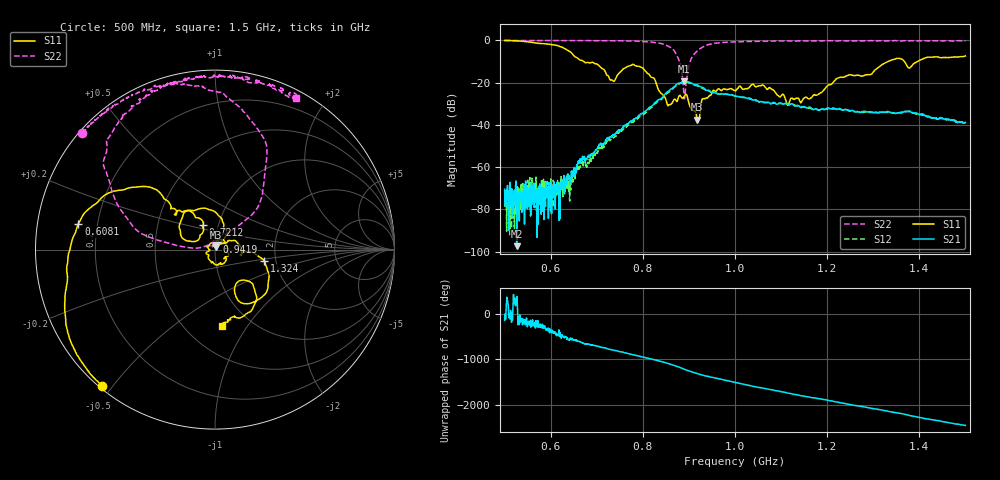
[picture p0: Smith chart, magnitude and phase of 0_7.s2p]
!Agilent Technologies,E8364B,US42250235,A.06.04.32
!Agilent E8364B: A.06.04.32
!Date: Friday, January 15, 2021 14:50:11
!Correction: S11(Full 2 Port(1,2)) S21(Full 2 Port(1,2)) S12(Full 2 Port(1,2)) S22(Full 2 Port(1,2))
!S2P File: Measurements: S11, S21, S12, S22:
# Hz S  dB  R 50
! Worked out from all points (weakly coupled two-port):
!   1601 points, 500 MHz to 1.5 GHz, reference 50 ohm
!   highest |S21| = -19.48 dB at 888.8 MHz (marker M1); lowest = -97.4 dB at 526.2 MHz (marker M2)
!   lowest |S11| = -37.5 dB at 918.1 MHz (marker M3), VSWR 1.03, Z = 50.3 + j1.3 ohm
!   |S11| at or under -10 dB: 671.3 MHz to 1.333 GHz (661.2 MHz wide, 66 % of centre); 1.368 GHz to 1.396 GHz (28.84 MHz wide, 2.09 % of centre)
!   |S22| runs from -27.8 to -0.1 dB; largest |S21 - S12| = 0.0055
!   S11 on the Smith chart (normalised r, x): 500 MHz: 0.01, -0.47; 608.1 MHz: 0.13, +0.09; 721.2 MHz: 0.85, +0.24; 941.9 MHz: 1.02, +0.09; 1.324 GHz: 1.74, -0.24; 1.5 GHz: 0.74, -0.77
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5e8  -0.13 -129.7  -70.43 -151.7  -78.74 -119.3  -0.13 138.6
5.2625e8  -0.29 -142.5  -97.38 -11.8  -75.05 -105.5  -0.14 135.8
6.08125e8  -2.22 169.4  -74.39 -55.6  -68.08 -45.9  -0.15 127.5
6.40625e8  -5.20 140.3  -64.81 156.6  -74.49 124.1  -0.18 124.8
6.66875e8  -9.48 137.2  -56.03 89.8  -57.72 99.5  -0.19 121.5
7.2125e8  -16.30 115.3  -46.79 -44.5  -48.34 -42.8  -0.26 115.0
7.35625e8  -19.30 141.6  -44.61 -82.0  -46.32 -81.9  -0.27 113.4
7.9125e8  -12.35 107.4  -35.62 148.5  -36.48 146.8  -0.51 102.4
8.3375e8  -23.49 51.3  -28.23 40.9  -28.82 40.5  -1.27 86.4
8.5625e8  -30.49 77.9  -24.06 -20.7  -24.62 -21.9  -2.96 70.3
8.70625e8  -27.97 85.0  -21.48 -66.7  -21.91 -67.5  -5.91 56.8
8.8875e8  -27.09 90.2  -19.48 -136.8  -19.90 -137.5  -24.68 74.1
9.18125e8  -37.53 75.6  -21.11 123.0  -21.60 122.0  -5.01 157.7
9.41875e8  -26.97 77.0  -23.67 60.5  -24.03 59.0  -2.08 142.3
1e9  -23.84 -10.3  -26.45 -71.1  -26.41 -72.5  -0.74 120.2
1.06e9  -21.14 -81.0  -29.15 163.7  -29.33 162.9  -0.46 111.8
1.114375e9  -30.69 -172.9  -30.34 55.2  -30.20 56.0  -0.36 103.8
1.166875e9  -26.91 47.4  -32.48 -46.0  -32.45 -45.0  -0.34 97.1
1.32375e9  -10.98 -13.2  -34.16 33.2  -34.03 31.2  -0.32 81.1
1.33375e9  -9.89 -22.6  -33.82 10.7  -34.07 12.7  -0.29 79.0
1.37875e9  -13.15 -52.2  -33.51 -75.4  -33.71 -75.2  -0.30 75.6
1.5e9  -7.42 -84.8  -38.89 65.0  -39.18 64.1  -0.37 61.7
